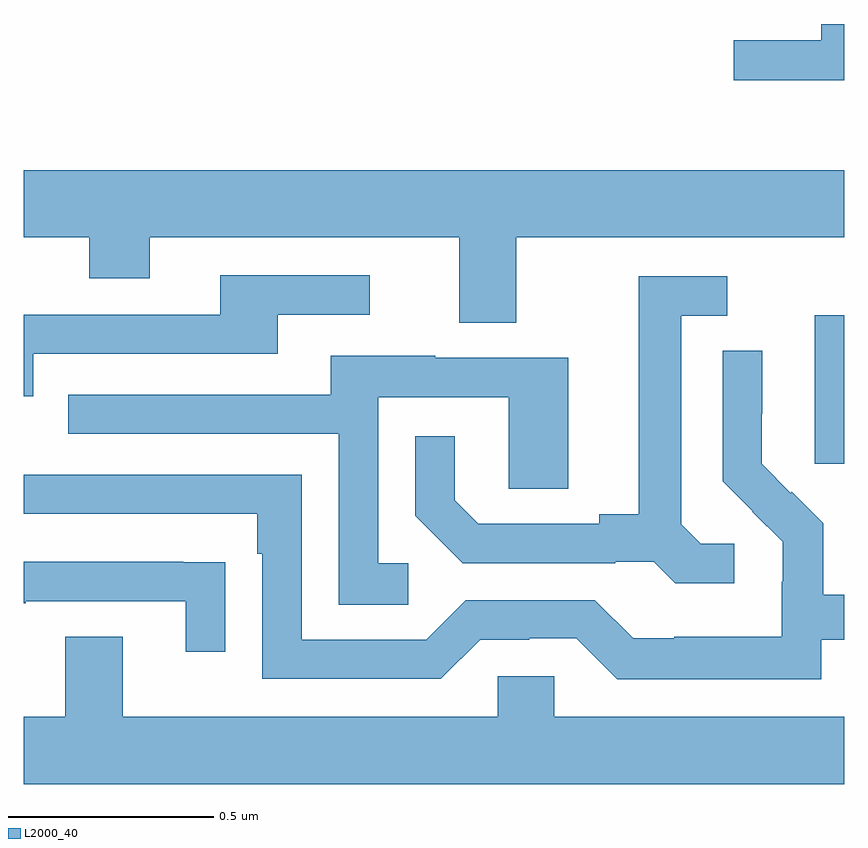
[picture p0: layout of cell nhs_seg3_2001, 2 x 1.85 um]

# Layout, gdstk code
import gdstk
lib = gdstk.Library(unit=1e-6, precision=1e-09)
def R(c, l, rs):  # rectangles x0, y0, x1, y1
    for r in rs: c.add(gdstk.rectangle(r[:2], r[2:], *l))
def P(c, l, *ps):  # polygons
    for p in ps: c.add(gdstk.Polygon(p, *l))
L2000_40 = (2000, 40)

nhs_seg3_2001 = lib.new_cell('nhs_seg3_2001')
R(nhs_seg3_2001, L2000_40, [(136.928,736.329,137,736.69)])
P(nhs_seg3_2001, L2000_40, [(137,737.4),(136.944,737.4),(136.944,737.361),(136.731,737.361),(136.731,737.263),(137,737.263)],
  [(136.201,736.88),(137,736.88),(137,737.044),(135,737.044),(135,736.88),(135.16,736.88),(135.16,736.781),(135.307,736.781),(135.307,736.88),(136.061,736.88),(136.061,736.672),(136.201,736.672)],
  [(135.024,736.596),(135.619,736.596),(135.619,736.692),(135.844,736.692),(135.844,736.788),(135.479,736.788),(135.479,736.692),(135,736.692),(135,736.493),(135.024,736.493)],
  [(136.732,736.134),(136.65,736.134),(136.603,736.181),(136.603,736.689),(136.714,736.689),(136.714,736.785),(136.499,736.785),(136.499,736.205),(136.403,736.205),(136.403,736.182),(136.108,736.182),(136.051,736.239),(136.051,736.396),(135.954,736.396),(135.954,736.202),(136.07,736.086),(136.442,736.086),(136.442,736.089),(136.536,736.089),(136.588,736.037),(136.732,736.037)],
  [(136.944,735.9),(137,735.9),(137,736.009),(136.949,736.009),(136.949,736.183),(136.872,736.26),(136.869,736.257),(136.799,736.328),(136.799,736.45),(136.8,736.45),(136.8,736.604),(136.704,736.604),(136.704,736.286),(136.777,736.213),(136.776,736.212),(136.85,736.138),(136.85,736.041),(136.848,736.041),(136.848,735.907),(136.585,735.907),(136.585,735.903),(136.485,735.903),(136.392,735.996),(136.077,735.996),(135.981,735.9),(135.678,735.9),(135.678,736.302),(135,736.302),(135,736.206),(135.569,736.206),(135.569,736.109),(135.582,736.109),(135.582,735.804),(136.017,735.804),(136.113,735.9),(136.232,735.9),(136.232,735.903),(136.347,735.903),(136.447,735.803),(136.944,735.803)],
  [(135.937,736.086),(135.864,736.086),(135.864,736.491),(136.182,736.491),(136.182,736.267),(136.327,736.267),(136.327,736.587),(136.003,736.587),(136.003,736.591),(135.749,736.591),(135.749,736.497),(135.109,736.497),(135.109,736.401),(135.768,736.401),(135.768,735.985),(135.937,735.985)],
  [(135.491,736.088),(135.389,736.088),(135.389,736.089),(135,736.089),(135,735.988),(135.005,735.988),(135.005,735.993),(135.395,735.993),(135.395,735.87),(135.491,735.87)],
  [(137,735.712),(136.293,735.712),(136.293,735.81),(136.155,735.81),(136.155,735.712),(135.241,735.712),(135.241,735.907),(135.101,735.907),(135.101,735.712),(135,735.712),(135,735.548),(137,735.548)])

lib.write_gds('nhs_seg3_2001.gds')
